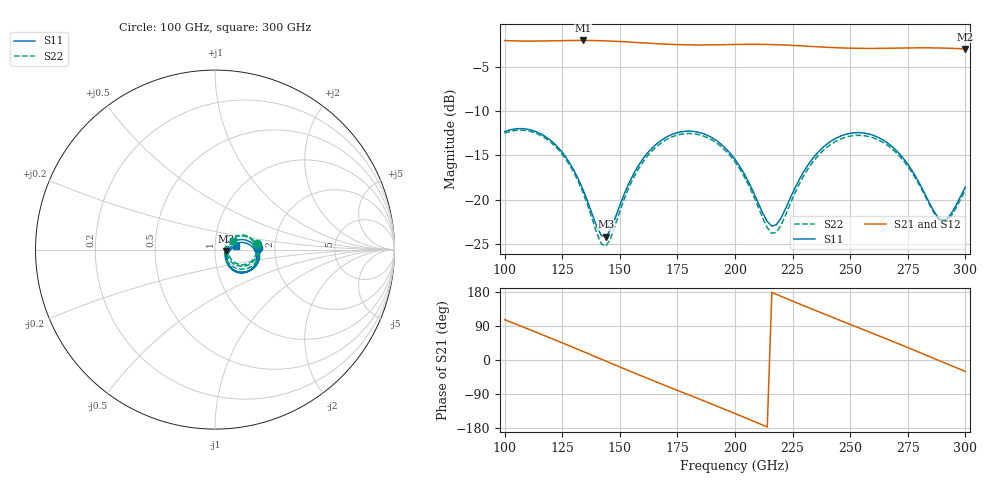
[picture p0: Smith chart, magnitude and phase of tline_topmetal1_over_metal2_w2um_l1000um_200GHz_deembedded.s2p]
! Created with skrf 2.0.1 (http://scikit-rf.org).
# GHz S DB R 50.0
!freq dBS11 angS11 dBS21 angS21 dBS12 angS12 dBS22 angS22
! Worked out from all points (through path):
!   101 points, 100 GHz to 300 GHz, reference 50 ohm
!   highest |S21| = -2.03 dB at 134 GHz (marker M1); lowest = -3.0 dB at 300 GHz (marker M2)
!   group delay of S21, straight-line fit = 6.9 ps
!   lowest |S11| = -24.2 dB at 144 GHz (marker M3), VSWR 1.13, Z = 56.5 - j0.952 ohm
!   |S11| at or under -10 dB: start of sweep to end of sweep
!   |S22| runs from -25.2 to -12.1 dB; largest |S21 - S12| = 8.6e-14
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100  -12.31 1.6  -2.04 106.5  -2.04 106.5  -12.48 7.0
108  -11.98 -13.4  -2.09 87.1  -2.09 87.1  -12.16 -7.8
116  -12.60 -28.2  -2.09 67.6  -2.09 67.6  -12.79 -22.4
126  -14.99 -44.4  -2.05 42.8  -2.05 42.8  -15.20 -38.6
134  -18.84 -49.7  -2.03 22.5  -2.03 22.5  -19.17 -44.6
140  -23.01 -35.3  -2.05 7.2  -2.05 7.2  -23.75 -30.5
144  -24.16 -7.8  -2.08 -3.0  -2.08 -3.0  -25.23 0.1
156  -17.06 22.7  -2.24 -33.4  -2.24 -33.4  -17.49 33.7
168  -13.28 7.2  -2.42 -63.1  -2.42 -63.1  -13.58 18.1
176  -12.36 -6.7  -2.50 -82.5  -2.50 -82.5  -12.63 4.3
184  -12.37 -20.9  -2.53 -101.8  -2.53 -101.8  -12.64 -9.8
200  -15.44 -45.4  -2.48 -141.2  -2.48 -141.2  -15.72 -34.3
208  -19.14 -47.4  -2.47 -161.4  -2.47 -161.4  -19.52 -36.8
216  -22.96 -19.2  -2.49 178.2  -2.49 178.2  -23.78 -7.5
224  -19.80 14.0  -2.57 158.0  -2.57 158.0  -20.43 29.0
234  -15.25 12.6  -2.71 133.0  -2.71 133.0  -15.66 27.9
250  -12.50 -11.4  -2.90 94.0  -2.90 94.0  -12.82 4.2
258  -12.57 -24.9  -2.92 74.6  -2.92 74.6  -12.86 -9.1
268  -13.95 -40.5  -2.90 50.2  -2.90 50.2  -14.22 -24.3
280  -18.11 -49.4  -2.86 20.2  -2.86 20.2  -18.32 -33.1
290  -22.31 -21.4  -2.89 -5.1  -2.89 -5.1  -22.49 -5.8
300  -18.57 10.0  -2.98 -30.3  -2.98 -30.3  -18.90 25.9
